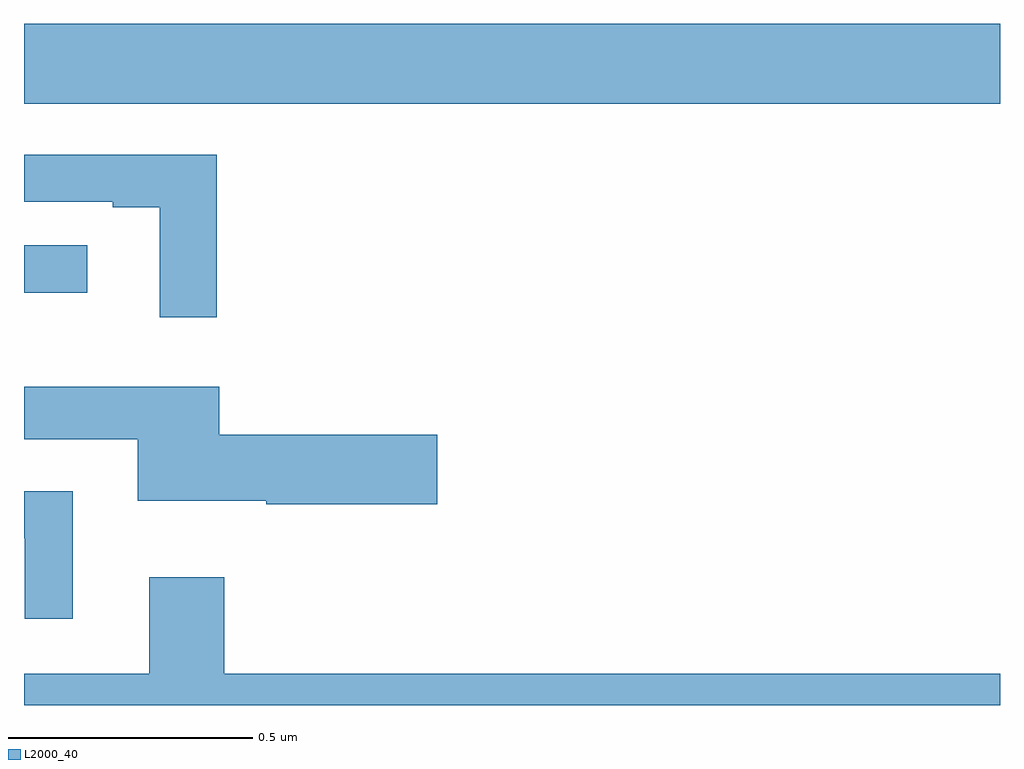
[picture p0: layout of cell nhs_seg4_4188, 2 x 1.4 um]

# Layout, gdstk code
import gdstk
lib = gdstk.Library(unit=1e-6, precision=1e-09)
def R(c, l, rs):  # rectangles x0, y0, x1, y1
    for r in rs: c.add(gdstk.rectangle(r[:2], r[2:], *l))
def P(c, l, *ps):  # polygons
    for p in ps: c.add(gdstk.Polygon(p, *l))
L2000_40 = (2000, 40)

nhs_seg4_4188 = lib.new_cell('nhs_seg4_4188')
R(nhs_seg4_4188, L2000_40, [(162,817.745,162.13,817.842), (162,818.132,164,818.296)])
P(nhs_seg4_4188, L2000_40, [(162.395,818.028),(162,818.028),(162,817.932),(162.182,817.932),(162.182,817.92),(162.278,817.92),(162.278,817.695),(162.395,817.695)],
  [(162.847,817.454),(162.4,817.454),(162.4,817.552),(162,817.552),(162,817.445),(162.233,817.445),(162.233,817.319),(162.496,817.319),(162.496,817.312),(162.847,817.312)],
  [(162.1,817.338),(162,817.338),(162,817.242),(162.002,817.242),(162.002,817.077),(162.1,817.077)],
  [(164,816.964),(162.41,816.964),(162.41,817.162),(162.257,817.162),(162.257,816.964),(162,816.964),(162,816.9),(164,816.9)])

lib.write_gds('nhs_seg4_4188.gds')
